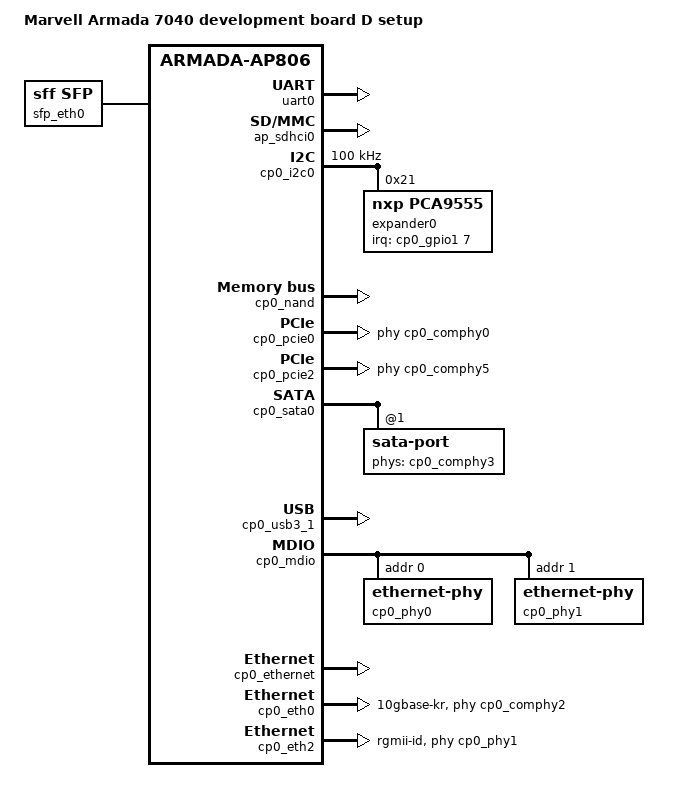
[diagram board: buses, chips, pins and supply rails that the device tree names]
// SPDX-License-Identifier: (GPL-2.0+ OR MIT)
/*
 * Device Tree file for Marvell Armada 7040 development board
 * This board file supports the D configuration of the board
 */

#include "armada-7040-db.dtsi"

/ {
	model = "Marvell Armada 7040 development board D setup";
	compatible = "marvell,armada7040-db-D", "marvell,armada7040-db",
		     "marvell,armada7040", "marvell,armada-ap806-quad",
		     "marvell,armada-ap806";

	chosen {
		stdout-path = "serial0:115200n8";
	};

	aliases {
		ethernet0 = &cp0_eth0;
		ethernet1 = &cp0_eth2;
	};

	sfp_eth0: sfp-eth0 {
		compatible = "sff,sfp";
	};
};

&uart0 {
	status = "okay";
};

&ap_sdhci0 {
	status = "okay";
};

&cp0_pinctrl {
	pca0_pins: pca0_pins {
		marvell,pins = "mpp7";
		marvell,function = "gpio";
	};
};

&cp0_i2c0 {
	status = "okay";
	clock-frequency = <100000>;

	expander0: pca9555@21 {
		compatible = "nxp,pca9555";
		pinctrl-0 = <&pca0_pins>;
		/* GPIO 62 is defined as GPIO 30 of cp0_gpio1 */
		interrupt-parent = <&cp0_gpio1>;
		interrupts = <7 IRQ_TYPE_EDGE_FALLING>;
		pinctrl-names = "default";
		gpio-controller;
		#gpio-cells = <2>;
		reg = <0x21>;
		/*
		 * IO0_0: USB3_PWR_EN0	IO1_0: USB_3_1_Dev_Detect
		 * IO0_1: USB3_PWR_EN1	IO1_1: USB2_1_current_limit
		 * IO0_2: DDR3_4_Detect	IO1_2: Hcon_IO_RstN
		 * IO0_3: USB2_DEVICE_DETECT
		 * IO0_4: GPIO_0	IO1_4: SD_Status
		 * IO0_5: GPIO_1	IO1_5: LDO_5V_Enable
		 * IO0_6: IHB_5V_Enable	IO1_6: PWR_EN_eMMC
		 * IO0_7:		IO1_7: SDIO_Vcntrl
		 */
	};
};

&cp0_nand {
	status = "okay";
};

&cp0_pcie0 {
	status = "okay";
	phys = <&cp0_comphy0 0>;
	phy-names = "pcie-phy0";
};

&cp0_pcie2 {
	status = "okay";
	phys = <&cp0_comphy5 2>;
	phy-names = "pcie-phy0";
};

&cp0_sata0 {
	status = "okay";

	sata-port@1 {
		status = "okay";
		/* Generic PHY, providing serdes lanes */
		phys = <&cp0_comphy3 1>;
	};
};

&cp0_usb3_1 {
	status = "okay";
};

&cp0_mdio {
	status = "okay";

	cp0_phy0: ethernet-phy@0 {
		reg = <0>;
	};
	cp0_phy1: ethernet-phy@3 {
		reg = <1>;
	};
};

&cp0_ethernet {
	status = "okay";
};

&cp0_eth0 {
	status = "okay";
	/* Network PHY */
	phy-mode = "10gbase-kr";
	/* Generic PHY, providing serdes lanes */
	phys = <&cp0_comphy2 0>;
	managed = "in-band-status";
	sfp = <&sfp_eth0>;
};

&cp0_eth2 {
	status = "okay";
	phy = <&cp0_phy1>;
	phy-mode = "rgmii-id";
};
